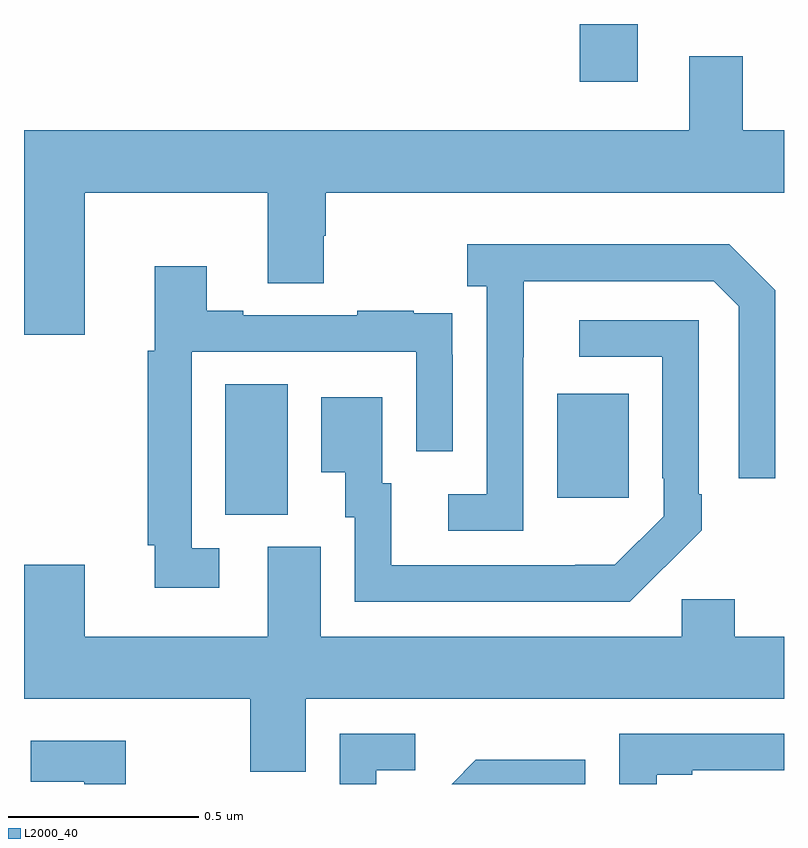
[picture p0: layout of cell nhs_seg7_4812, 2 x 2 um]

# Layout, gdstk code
import gdstk
lib = gdstk.Library(unit=1e-6, precision=1e-09)
def R(c, l, rs):  # rectangles x0, y0, x1, y1
    for r in rs: c.add(gdstk.rectangle(r[:2], r[2:], *l))
def P(c, l, *ps):  # polygons
    for p in ps: c.add(gdstk.Polygon(p, *l))
L2000_40 = (2000, 40)

nhs_seg7_4812 = lib.new_cell('nhs_seg7_4812')
R(nhs_seg7_4812, L2000_40, [(177.53,1059.709,177.694,1060.052), (178.403,1059.753,178.591,1060.027), (178.463,1060.848,178.615,1061)])
P(nhs_seg7_4812, L2000_40, [(177.16,1060.556),(177.641,1060.556),(177.641,1060.318),(177.789,1060.318),(177.789,1060.443),(177.794,1060.443),(177.794,1060.556),(179,1060.556),(179,1060.72),(178.891,1060.72),(178.891,1060.915),(178.751,1060.915),(178.751,1060.72),(177,1060.72),(177,1060.182),(177.16,1060.182)],
  [(178.314,1060.123),(178.315,1060.123),(178.315,1060.323),(178.815,1060.323),(178.881,1060.257),(178.881,1059.804),(178.977,1059.804),(178.977,1060.299),(178.856,1060.42),(178.167,1060.42),(178.167,1060.31),(178.218,1060.31),(178.218,1059.762),(178.116,1059.762),(178.116,1059.666),(178.314,1059.666)],
  [(177.514,1059.621),(177.441,1059.621),(177.441,1060.137),(178.032,1060.137),(178.032,1059.876),(178.128,1059.876),(178.128,1060.13),(178.127,1060.13),(178.127,1060.239),(178.025,1060.239),(178.025,1060.246),(177.877,1060.246),(177.877,1060.233),(177.577,1060.233),(177.577,1060.246),(177.481,1060.246),(177.481,1060.363),(177.344,1060.363),(177.344,1060.14),(177.325,1060.14),(177.325,1059.628),(177.344,1059.628),(177.344,1059.516),(177.514,1059.516)],
  [(178.685,1059.571),(178.686,1059.57),(178.784,1059.668),(178.784,1059.763),(178.776,1059.763),(178.776,1060.221),(178.461,1060.221),(178.461,1060.125),(178.68,1060.125),(178.68,1059.805),(178.683,1059.805),(178.683,1059.705),(178.555,1059.577),(178.451,1059.577),(178.451,1059.576),(177.967,1059.576),(177.967,1059.792),(177.943,1059.792),(177.943,1060.018),(177.782,1060.018),(177.782,1059.821),(177.845,1059.821),(177.845,1059.702),(177.87,1059.702),(177.87,1059.48),(178.594,1059.48)],
  [(177.742,1059.224),(179,1059.224),(179,1059.388),(178.87,1059.388),(178.87,1059.486),(178.731,1059.486),(178.731,1059.388),(177.781,1059.388),(177.781,1059.624),(177.641,1059.624),(177.641,1059.388),(177.16,1059.388),(177.16,1059.577),(177,1059.577),(177,1059.224),(177.595,1059.224),(177.595,1059.032),(177.742,1059.032)],
  [(178.665,1059.024),(178.759,1059.024),(178.759,1059.036),(179,1059.036),(179,1059.132),(178.566,1059.132),(178.566,1059),(178.665,1059)],
  [(177.927,1059.036),(178.03,1059.036),(178.03,1059.132),(177.831,1059.132),(177.831,1059),(177.927,1059)],
  [(177.268,1059.114),(177.018,1059.114),(177.018,1059.006),(177.158,1059.006),(177.158,1059),(177.268,1059)],
  [(178.477,1059.064),(178.189,1059.064),(178.126,1059),(178.477,1059)])

lib.write_gds('nhs_seg7_4812.gds')
